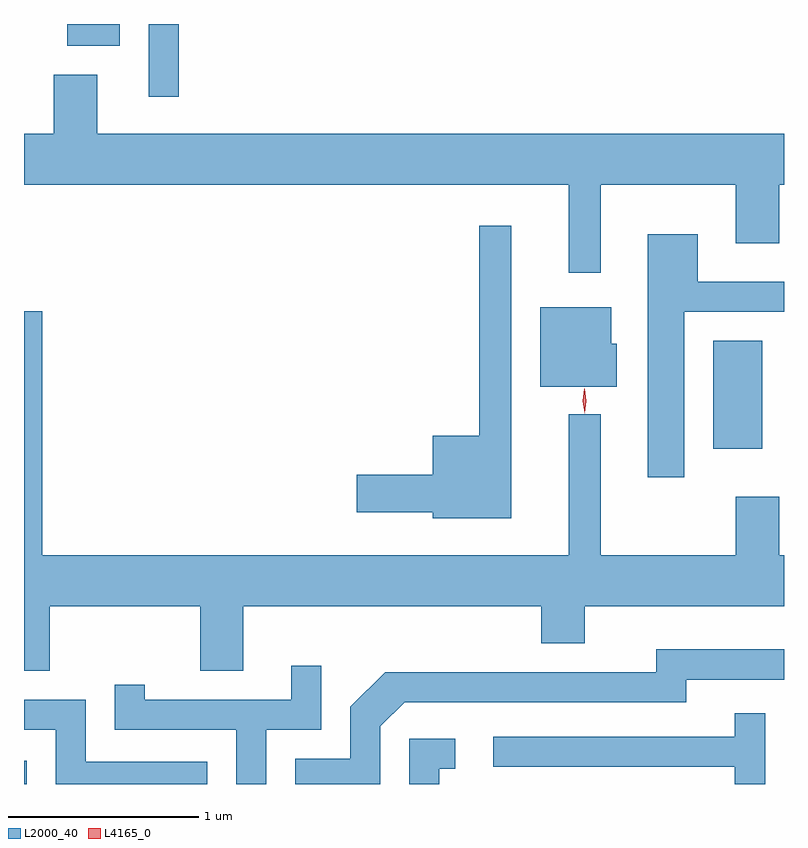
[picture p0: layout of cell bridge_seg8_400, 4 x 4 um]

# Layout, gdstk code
import gdstk
lib = gdstk.Library(unit=1e-6, precision=1e-09)
def R(c, l, rs):  # rectangles x0, y0, x1, y1
    for r in rs: c.add(gdstk.rectangle(r[:2], r[2:], *l))
def P(c, l, *ps):  # polygons
    for p in ps: c.add(gdstk.Polygon(p, *l))
L2000_40 = (2000, 40)
L4165_0 = (4165, 0)

bridge_seg8_400 = lib.new_cell('bridge_seg8_400')
R(bridge_seg8_400, L2000_40, [(677.124,1824.381,677.139,1824.504), (680.751,1826.146,681.009,1826.714), (677.781,1827.998,677.939,1828.381), (677.351,1828.266,677.629,1828.381)])
P(bridge_seg8_400, L2000_40, [(680.159,1827.536),(680.871,1827.536),(680.871,1827.226),(681.099,1827.226),(681.099,1827.536),(681.124,1827.536),(681.124,1827.804),(677.509,1827.804),(677.509,1828.114),(677.281,1828.114),(677.281,1827.804),(677.124,1827.804),(677.124,1827.536),(679.991,1827.536),(679.991,1827.073),(680.159,1827.073)],
  [(679.689,1827.318),(679.521,1827.318),(679.521,1826.214),(679.276,1826.214),(679.276,1826.009),(678.876,1826.009),(678.876,1825.811),(679.276,1825.811),(679.276,1825.781),(679.689,1825.781)],
  [(680.599,1826.866),(681.124,1826.866),(681.124,1827.024),(680.669,1827.024),(680.669,1827.274),(680.406,1827.274),(680.406,1825.996),(680.599,1825.996)],
  [(680.244,1826.699),(680.214,1826.699),(680.214,1826.889),(679.841,1826.889),(679.841,1826.471),(680.244,1826.471)],
  [(677.259,1825.316),(678.051,1825.316),(678.051,1824.976),(678.279,1824.976),(678.279,1825.316),(679.846,1825.316),(679.846,1825.121),(680.074,1825.121),(680.074,1825.316),(681.124,1825.316),(681.124,1825.584),(681.099,1825.584),(681.099,1825.894),(680.871,1825.894),(680.871,1825.584),(680.159,1825.584),(680.159,1826.328),(679.991,1826.328),(679.991,1825.584),(677.219,1825.584),(677.219,1826.869),(677.124,1826.869),(677.124,1824.976),(677.259,1824.976)],
  [(678.999,1824.684),(679.127,1824.811),(680.609,1824.811),(680.609,1824.931),(681.124,1824.931),(681.124,1825.089),(680.451,1825.089),(680.451,1824.969),(679.024,1824.969),(678.841,1824.787),(678.841,1824.514),(678.551,1824.514),(678.551,1824.381),(678.999,1824.381)],
  [(678.399,1824.666),(678.689,1824.666),(678.689,1825.003),(678.531,1825.003),(678.531,1824.824),(677.759,1824.824),(677.759,1824.903),(677.601,1824.903),(677.601,1824.666),(678.241,1824.666),(678.241,1824.381),(678.399,1824.381)],
  [(678.089,1824.499),(677.449,1824.499),(677.449,1824.824),(677.124,1824.824),(677.124,1824.666),(677.291,1824.666),(677.291,1824.381),(678.089,1824.381)],
  [(681.024,1824.753),(680.866,1824.753),(680.866,1824.629),(679.593,1824.629),(679.593,1824.471),(680.866,1824.471),(680.866,1824.381),(681.024,1824.381)],
  [(679.309,1824.461),(679.393,1824.461),(679.393,1824.619),(679.151,1824.619),(679.151,1824.381),(679.309,1824.381)])
P(bridge_seg8_400, L4165_0, [(680.074,1826.333),(680.064,1826.397),(680.073,1826.461),(680.074,1826.462),(680.074,1826.461),(680.084,1826.397),(680.075,1826.333),(680.075,1826.333)])

lib.write_gds('bridge_seg8_400.gds')
